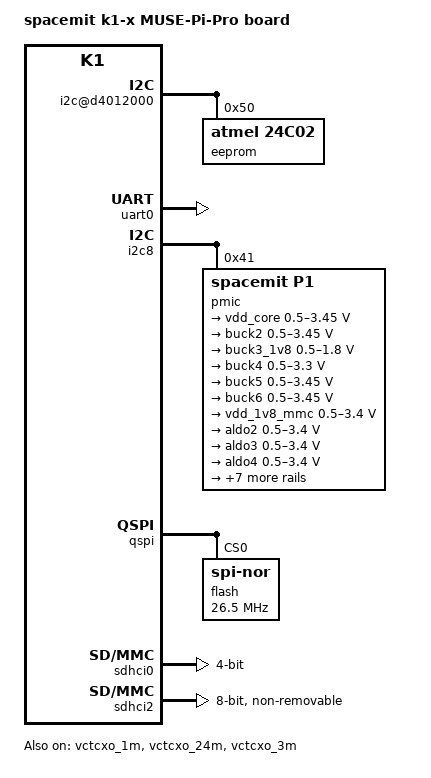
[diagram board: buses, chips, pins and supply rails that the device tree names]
// SPDX-License-Identifier: GPL-2.0-or-later OR MIT
/*
 * Copyright (C) 2026 RISCstar Ltd.
 */

#include "k1.dtsi"
#include "binman.dtsi"

/ {
	model = "spacemit k1-x MUSE-Pi-Pro board";
	compatible = "spacemit,muse-pi-pro", "spacemit,k1";

	aliases {
		console = &uart0;
		serial0 = &uart0;
	};

	chosen {
		stdout-path = "serial0:115200n8";
	};
};

&vctcxo_1m {
	status = "okay";
};

&vctcxo_24m {
	status = "okay";
};

&vctcxo_3m {
	status = "okay";
};

&osc_32k {
	status = "okay";
};

&soc {
	clock-controller@d4090000 {
		status = "okay";
		bootph-all;
	};
	system-controller@d4050000 {
		status = "okay";
		bootph-all;
	};
	system-controller@d4282800 {
		status = "okay";
		bootph-all;
	};
	system-controller@d4015000 {
		status = "okay";
	};

	i2c@d4012000 {		/* i2c2 */
		status = "okay";
		eeprom: eeprom {
			compatible = "atmel,24c02";
			reg = <0x50>;
			status = "okay";
		};
	};

	reset-controller@d4050000 {
		status = "okay";
	};
};

&uart0 {
	status = "okay";
};

&i2c8 {
	status = "okay";
	pmic@41 {
		compatible = "spacemit,p1";
		reg = <0x41>;
		status = "okay";

		regulators {
			buck1 {
				regulator-name = "vdd_core";
				regulator-min-microvolt = <500000>;
				regulator-max-microvolt = <3450000>;
				regulator-ramp-delay = <5000>;
				regulator-always-on;
			};

			buck2 {
				regulator-min-microvolt = <500000>;
				regulator-max-microvolt = <3450000>;
				regulator-ramp-delay = <5000>;
				regulator-always-on;
			};

			buck3_1v8: buck3 {
				regulator-name = "vdd_1v8";
				regulator-min-microvolt = <500000>;
				regulator-max-microvolt = <1800000>;
				regulator-ramp-delay = <5000>;
				regulator-always-on;
			};

			buck4 {
				regulator-min-microvolt = <500000>;
				regulator-max-microvolt = <3300000>;
				regulator-ramp-delay = <5000>;
				regulator-always-on;
			};

			buck5 {
				regulator-min-microvolt = <500000>;
				regulator-max-microvolt = <3450000>;
				regulator-ramp-delay = <5000>;
				regulator-always-on;
			};

			buck6 {
				regulator-min-microvolt = <500000>;
				regulator-max-microvolt = <3450000>;
				regulator-ramp-delay = <5000>;
				regulator-always-on;
			};

			aldo1 {
				regulator-name = "vdd_1v8_mmc";
				regulator-min-microvolt = <500000>;
				regulator-max-microvolt = <3400000>;
				regulator-boot-on;
			};

			aldo2 {
				regulator-min-microvolt = <500000>;
				regulator-max-microvolt = <3400000>;
			};

			aldo3 {
				regulator-min-microvolt = <500000>;
				regulator-max-microvolt = <3400000>;
			};

			aldo4 {
				regulator-min-microvolt = <500000>;
				regulator-max-microvolt = <3400000>;
			};

			dldo1 {
				regulator-min-microvolt = <500000>;
				regulator-max-microvolt = <3400000>;
			};

			dldo2 {
				regulator-min-microvolt = <500000>;
				regulator-max-microvolt = <3400000>;
			};

			dldo3 {
				regulator-min-microvolt = <500000>;
				regulator-max-microvolt = <3400000>;
			};

			dldo4 {
				regulator-min-microvolt = <500000>;
				regulator-max-microvolt = <3400000>;
			};

			dldo5 {
				regulator-min-microvolt = <500000>;
				regulator-max-microvolt = <3400000>;
			};

			dldo6 {
				regulator-min-microvolt = <500000>;
				regulator-max-microvolt = <3400000>;
			};

			dldo7 {
				regulator-min-microvolt = <500000>;
				regulator-max-microvolt = <3400000>;
			};
		};
	};
};

&qspi {
	status = "okay";

	flash@0 {
		compatible = "jedec,spi-nor";
		reg = <0>;
		spi-max-frequency = <26500000>;
		m25p,fast-read;
		broken-flash-reset;
		status = "okay";
	};
};

&sdhci0 {
	status = "okay";
	bootph-pre-ram;
	max-frequency = <204800000>;
	bus-width = <4>;
};

&sdhci2 {
	status = "okay";
	bootph-pre-ram;
	non-removable;
	max-frequency = <204800000>;
	no-sd;
	bus-width = <8>;
};
